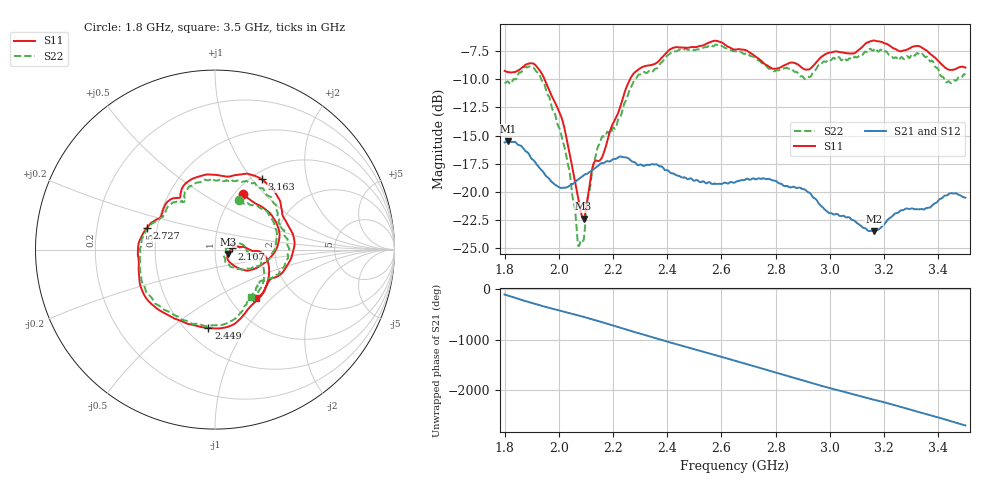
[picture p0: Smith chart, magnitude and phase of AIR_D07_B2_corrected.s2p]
! Created with skrf 1.9.0 (http://scikit-rf.org).
# Hz S RI R 50.0
!freq ReS11 ImS11 ReS21 ImS21 ReS12 ImS12 ReS22 ImS22
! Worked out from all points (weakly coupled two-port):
!   1601 points, 1.8 GHz to 3.5 GHz, reference 50 ohm
!   highest |S21| = -15.52 dB at 1.814 GHz (marker M1); lowest = -23.5 dB at 3.164 GHz (marker M2)
!   lowest |S11| = -22.4 dB at 2.091 GHz (marker M3), VSWR 1.16, Z = 57.6 - j2.9 ohm
!   |S11| at or under -10 dB: 1.947 GHz to 2.263 GHz (315.2 MHz wide, 15 % of centre)
!   |S22| runs from -24.8 to -6.9 dB; largest |S21 - S12| = 0.0033
!   S11 on the Smith chart (normalised r, x): 1.8 GHz: 1.09, +0.76; 2.107 GHz: 1.21, +0.02; 2.449 GHz: 0.64, -0.69; 2.727 GHz: 0.44, +0.12; 3.163 GHz: 1.11, +1.12; 3.5 GHz: 1.31, -0.82
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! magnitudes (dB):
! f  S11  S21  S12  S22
! 1.8 GHz  -9.2  -15.6  -15.6  -10.3
! 1.814 GHz  -9.4  -15.5  -15.5  -10.2
! 1.89 GHz  -8.6  -16.7  -16.7  -8.9
! 1.942 GHz  -9.7  -18.2  -18.2  -10.2
! 2.015 GHz  -13.8  -19.6  -19.7  -15.5
! 2.071 GHz  -20.4  -18.9  -18.9  -24.7
! 2.084 GHz  -22.0  -18.7  -18.7  -24.3
! 2.091 GHz  -22.4  -18.5  -18.6  -24.3
! 2.107 GHz  -20.5  -18.4  -18.4  -20.5
! 2.127 GHz  -17.6  -18.0  -18.0  -17.6
! 2.15 GHz  -17.2  -17.6  -17.6  -15.7
! 2.263 GHz  -10.0  -17.2  -17.2  -10.8
! 2.367 GHz  -8.4  -17.7  -17.6  -8.9
! 2.449 GHz  -7.2  -18.7  -18.7  -7.4
! 2.65 GHz  -7.3  -19.2  -19.1  -7.5
! 2.727 GHz  -8.0  -18.9  -18.9  -8.1
! 2.934 GHz  -8.9  -20.4  -20.3  -9.6
! 3.163 GHz  -6.5  -23.5  -23.5  -7.3
! 3.164 GHz  -6.5  -23.5  -23.5  -7.3
! 3.217 GHz  -6.9  -22.4  -22.4  -7.8
! 3.435 GHz  -9.1  -20.3  -20.2  -10.2
! 3.5 GHz  -9.0  -20.5  -20.5  -9.6
